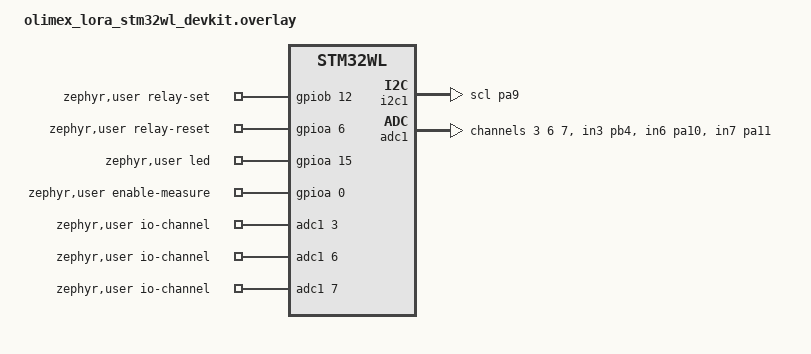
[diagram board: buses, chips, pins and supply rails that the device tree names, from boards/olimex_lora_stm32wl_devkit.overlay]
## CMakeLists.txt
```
# SPDX-License-Identifier: Apache-2.0

set(BOARD olimex_lora_stm32wl_devkit)

cmake_minimum_required(VERSION 3.20.0)

find_package(Zephyr HINTS $ENV{ZEPHYR_BASE})
project(bat-monitor)

FILE(GLOB app_sources src/*.c)
target_sources(app PRIVATE ${app_sources})
```

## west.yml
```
manifest:
  defaults:
    remote: lamassu
  remotes:
    - name: lamassu
      url-base: git@gitlab.lamassu.is:farm/adc-test
  projects:
    - name: zephyr
      repo-path: zephyr
      revision: v3.4.0
    - name: adc-test
      revision: main
      self: true
```

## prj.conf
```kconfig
CONFIG_LOG=y
CONFIG_SPI=y
CONFIG_GPIO=y
CONFIG_LORA=y
CONFIG_LORAWAN=y
CONFIG_LORAWAN_SERVICES=y
CONFIG_LORAWAN_APP_CLOCK_SYNC=y
CONFIG_LORAMAC_REGION_IN865=n
CONFIG_LORAMAC_REGION_EU868=y
CONFIG_MAIN_STACK_SIZE=2048
CONFIG_SYSTEM_WORKQUEUE_STACK_SIZE=2048
CONFIG_NVS=y
CONFIG_FLASH=y
CONFIG_FLASH_PAGE_LAYOUT=y
CONFIG_MPU_ALLOW_FLASH_WRITE=y
CONFIG_SENSOR=y
CONFIG_ADC=y
CONFIG_ADC_STM32=y
CONFIG_PRINTK=y
CONFIG_CBPRINTF_FP_SUPPORT=y
CONFIG_DEBUG=y
CONFIG_DEBUG_INFO=y
CONFIG_EXCEPTION_STACK_TRACE=y
```

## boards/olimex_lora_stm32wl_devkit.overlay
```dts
/*
 * SPDX-License-Identifier: Apache-2.0
 *
 * Copyright (c) 2022 QRTECH
 */

#include <zephyr/dt-bindings/adc/adc.h>
#include <zephyr/dt-bindings/gpio/gpio.h>

/ {
	zephyr,user {
		/* adjust channel number according to pinmux in board.dts */
		io-channels = <&adc1 3 &adc1 6 &adc1 7>;
		relay-set-gpios = <&gpiob 12 4 >;
		relay-reset-gpios = <&gpioa 6 4 >;
		led-gpios = <&gpioa 15 4 >;
		enable-measure-gpios = <&gpioa 0 4 >;
	};
};

/* 
&adc1 {
	status = "okay";
	pinctrl-0 = <&adc_in3_pb4>;  
	pinctrl-names = "default";
	#address-cells = <1>;
	#size-cells = <0>;

	channel@3 {
		reg = <3>;
		zephyr,gain = "ADC_GAIN_1";
		zephyr,reference = "ADC_REF_INTERNAL";
		zephyr,acquisition-time = <ADC_ACQ_TIME_DEFAULT>;
		zephyr,resolution = <12>;
	};

};
*/

&i2c1 {
    pinctrl-0 = <&i2c1_scl_pa9>; /* Remove &i2c1_sda_pa10 */
    status = "okay";
	// status = "disabled";
};

uext_spi: &spi1 {
	status = "disabled";
};

&adc1 {
    status = "okay";

    /* Existing channel configuration */
    pinctrl-0 = <&adc_in3_pb4 &adc_in6_pa10 &adc_in7_pa11>;
    pinctrl-names = "default";

	#address-cells = <1>;
	#size-cells = <0>;

    channel@3 {
        reg = <3>;
        zephyr,gain = "ADC_GAIN_1";
        zephyr,reference = "ADC_REF_INTERNAL";
        zephyr,acquisition-time = <ADC_ACQ_TIME_DEFAULT>;
		// zephyr,acquisition-time = <ADC_ACQ_TIME(ADC_ACQ_TIME_MICROSECONDS, 12)>;
        zephyr,resolution = <10>;
    };

    channel@6 {
        reg = <6>; /* Channel number */
        zephyr,gain = "ADC_GAIN_1"; /* Gain setting for the channel */
        zephyr,reference = "ADC_REF_INTERNAL"; /* Reference voltage */
        zephyr,acquisition-time = <ADC_ACQ_TIME_DEFAULT>; /* Acquisition time */
        zephyr,resolution = <12>; /* Resolution in bits */
    };

    channel@7 {
        reg = <7>; /* Channel number */
        zephyr,gain = "ADC_GAIN_1"; /* Gain setting for the channel */
        zephyr,reference = "ADC_REF_INTERNAL"; /* Reference voltage */
        zephyr,acquisition-time = <ADC_ACQ_TIME_DEFAULT>; /* Acquisition time */
        zephyr,resolution = <12>; /* Resolution in bits */
    };
};
```

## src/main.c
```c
/*
 * Copyright (c) 2020 Libre Solar Technologies GmbH
 *
 * SPDX-License-Identifier: Apache-2.0
 */

#include <zephyr/kernel.h>
#include <zephyr/sys/printk.h>
#include <zephyr/sys/util.h>
#include <zephyr/logging/log.h>

#include "gpio.h"
#include "volt_measure.h"

#define THREAD_PRIORITY 5

LOG_MODULE_REGISTER(adc_test, 0);

void led_on() {
	gpio_pin_set_dt(&gpio_led, 1);
}

void led_off() {
	gpio_pin_set_dt(&gpio_led, 0);
}

int main(void) {

	LOG_MODULE_DECLARE(adc_test);
	printk("version 1.1\n");

	if (gpio_init() < 0) {
		LOG_ERR("Couldn't initialize GPIOs.");
		return -10;
	}

	// Boot led indication
	for (int i = 0; i < 7; i++) {
		led_on();
		k_sleep(K_MSEC(100));
		led_off();
		k_sleep(K_MSEC(500));
	}

	if (volt_measure_init() < 0) {
		LOG_ERR("Couldn't initialize ADC.");
		return -11;	
	}
	
	while (true) {
		uint16_t val;
		val = volt_measure(0);
		printk("Voltage 0: %d mV\n\n", val);

		k_sleep(K_MSEC(100));

		val = volt_measure(1);
		printk("Voltage 1: %d mV\n\n\n", val);

		k_sleep(K_MSEC(5000));
	}

	printk("Done\n");
	return 0;
}
```

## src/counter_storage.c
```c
#include <zephyr/kernel.h>
#include <zephyr/device.h>
#include <zephyr/drivers/flash.h>
#include <zephyr/storage/flash_map.h>
#include <zephyr/fs/nvs.h>

static struct nvs_fs fs;

#define NVS_PARTITION		storage_partition
#define NVS_PARTITION_DEVICE	FIXED_PARTITION_DEVICE(NVS_PARTITION)
#define NVS_PARTITION_OFFSET	FIXED_PARTITION_OFFSET(NVS_PARTITION)

#define COUNTER_ID 1


int counter_storage_init(void)
{
    int rc;

	struct flash_pages_info info;

	/* define the nvs file system by settings with:
	 *	sector_size equal to the pagesize,
	 *	3 sectors
	 *	starting at NVS_PARTITION_OFFSET
	 */
	fs.flash_device = NVS_PARTITION_DEVICE;
	if (!device_is_ready(fs.flash_device)) {
		printk("Flash device %s is not ready\n", fs.flash_device->name);
		return -1;
	}
	fs.offset = NVS_PARTITION_OFFSET;
	rc = flash_get_page_info_by_offs(fs.flash_device, fs.offset, &info);
	if (rc) {
		printk("Unable to get page info\n");
		return -2;
	}
	fs.sector_size = info.size;
	fs.sector_count = 3U;

	rc = nvs_mount(&fs);
	if (rc) {
		printk("Flash Init failed\n");
		return -3;
	}

    printk("Flash initialized\n");

    return 0;
}

uint16_t counter_storage_inc(void) {
    int rc;
	uint16_t counter = 0U;

	/* COUNTER_ID is used to store the reboot counter, lets see
	 * if we can read it from flash
	 */
	rc = nvs_read(&fs, COUNTER_ID, &counter, sizeof(counter));
	if (rc > 0) { /* item was found, show it */
		printk("Id: %d, counter: %d\n", COUNTER_ID, counter);
        counter++;
		(void)nvs_write(&fs, COUNTER_ID, &counter, sizeof(counter));
	} else   {/* item was not found, add it */
		printk("No Reboot counter found, adding it at id %d\n", COUNTER_ID);
	}
    (void)nvs_write(&fs, COUNTER_ID, &counter, sizeof(counter));

    return counter;
}
```

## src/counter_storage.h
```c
int counter_storage_init(void);
uint16_t counter_storage_inc(void);
```

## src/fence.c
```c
#include <stdint.h>

#include "fence.h"
#include "gpio.h"

enum relay_state_t { Energize, De_energize };
const int relay_time_ms = 100;

uint8_t fence_is_energized(uint16_t mv_value) {
    if (mv_value > 5000) {
        return 1;
    } 

    return 0;
}

void set_relay_pin(enum relay_state_t relay_state, int value) {
    if (relay_state == Energize) {
        gpio_pin_set_dt(&gpio_relay_reset, value);
    } else if (relay_state == De_energize) {
        gpio_pin_set_dt(&gpio_relay_set, value);
    }
}

void set_relay(enum relay_state_t relay_state) {
    set_relay_pin(relay_state, 1);
    k_sleep(K_MSEC(relay_time_ms));
    set_relay_pin(relay_state, 0);
}

void fence_handle_cmd(uint16_t mv_value, enum fence_cmd cmd) {
    int energized = fence_is_energized(mv_value);

    if (cmd == FENCE_ENERGIZE && !energized) {
        set_relay(Energize);
    } else if (cmd == FENCE_DE_ENERGIZE && energized) {
        set_relay(De_energize);
    }
}
```

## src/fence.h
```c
enum fence_cmd {
    FENCE_NONE = 0,
    FENCE_ENERGIZE = 1,
    FENCE_DE_ENERGIZE = 2,
};

uint8_t fence_is_energized(uint16_t mv_value);
void fence_handle_cmd(uint16_t mv_value, enum fence_cmd cmd);
```

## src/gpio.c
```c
#include <zephyr/logging/log.h>
#include "gpio.h"

#define ZEPHYR_USER_NODE DT_PATH(zephyr_user)
#define LED0_NODE DT_ALIAS(led0)

const struct gpio_dt_spec gpio_relay_set =
        GPIO_DT_SPEC_GET(ZEPHYR_USER_NODE, relay_set_gpios);

const struct gpio_dt_spec gpio_relay_reset =
        GPIO_DT_SPEC_GET(ZEPHYR_USER_NODE, relay_reset_gpios);


const struct gpio_dt_spec gpio_led = GPIO_DT_SPEC_GET(LED0_NODE, gpios);

LOG_MODULE_DECLARE(lora_fence);

int init_gpio(const struct gpio_dt_spec *gpio) {
    LOG_MODULE_DECLARE(adc_test);

	if (!gpio_is_ready_dt(gpio)) {
        LOG_ERR("GPIO %s is not ready.", gpio->port->name);
		return -1;
	}

	if (gpio_pin_configure_dt(gpio, GPIO_OUTPUT_INACTIVE) < 0) {
        LOG_ERR("Couldn't configure GPIO %s.", gpio->port->name);
        return -2;
    }

    return 0;
}

int gpio_init(void) {
    if (init_gpio(&gpio_relay_set) < 0) { return -1; }
    if (init_gpio(&gpio_relay_reset) < 0) { return -2; }
    if (init_gpio(&gpio_led) < 0) { return -4; }

    return 0;
}
```

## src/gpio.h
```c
#include <zephyr/kernel.h>
#include <zephyr/drivers/gpio.h>

extern const struct gpio_dt_spec gpio_relay_set;        
extern const struct gpio_dt_spec gpio_relay_reset;
extern const struct gpio_dt_spec gpio_led;

int gpio_init(void);
```

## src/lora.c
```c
/*
 * Class A LoRaWAN sample application
 *
 * Copyright (c) 2020 Manivannan Sadhasivam <mani@kernel.org>
 *
 * SPDX-License-Identifier: Apache-2.0
 */

/*
DR0: SF = 12
DR1: SF = 11
DR2: SF = 10
DR3: SF = 9
DR4: SF = 8
DR5: SF = 7
*/

#include <stddef.h>
#include <stdint.h>

#include <zephyr/devicetree.h>
#include <zephyr/sys/util.h>
#include <zephyr/random/rand32.h>

#include <zephyr/device.h>
#include <zephyr/lorawan/lorawan.h>
#include <zephyr/kernel.h>

#include <zephyr/sys/printk.h>

#include <zephyr/logging/log.h>

#include "lora.h"
#include "counter_storage.h"

/* Customize based on network configuration */
//70B3D57ED005AC1A
#define LORAWAN_DEV_EUI			{ 0x70, 0xB3, 0xD5, 0x7E, 0xD0, 0x05, 0xAC, 0x1A }
#define LORAWAN_JOIN_EUI		{ 0x00, 0x00, 0x00, 0x00, 0x00, 0x00,\
					  0x00, 0x00 }
#define LORAWAN_APP_KEY			{ 0x2B, 0x7E, 0x15, 0x16, 0x28, 0xAE,\
					  0xD2, 0xA6, 0xAB, 0xF7, 0x15, 0x88,\
					  0x09, 0xCF, 0x4F, 0x3C }

static const int port = 2;

static lora_callback_t g_callback = NULL;

LOG_MODULE_DECLARE(lora_fence);

static void dl_callback(uint8_t port, bool data_pending,
			int16_t rssi, int8_t snr,
			uint8_t len, const uint8_t *data)
{
	LOG_MODULE_DECLARE(lora_fence);

	LOG_INF("Port %d, Pending %d, RSSI %ddB, SNR %ddBm", port, data_pending, rssi, snr);
	if (data) {
		LOG_HEXDUMP_INF(data, len, "Payload: ");
	}

	if (g_callback != NULL) {
        g_callback(port, data, len);
    }
	LOG_MSG_DBG("Done callback");
}

static void lorawan_datarate_changed(enum lorawan_datarate dr)
{
	uint8_t unused, max_size;

	LOG_MODULE_DECLARE(lora_fence);

	lorawan_get_payload_sizes(&unused, &max_size);
	LOG_INF("New Datarate: DR_%d, Max Payload %d", dr, max_size);
}

static struct lorawan_downlink_cb downlink_cb = {
	.port = LW_RECV_PORT_ANY,
	.cb = dl_callback
};

int join(uint32_t initial_delay_ms, uint32_t max_delay_ms, uint8_t max_attempts) {
    uint32_t delay = initial_delay_ms;
    uint8_t attempts = 0;
    float random_factor;
	int ret;
	uint16_t dev_nonce;

	struct lorawan_join_config join_cfg;
	uint8_t dev_eui[] = LORAWAN_DEV_EUI;
	uint8_t join_eui[] = LORAWAN_JOIN_EUI;
	uint8_t app_key[] = LORAWAN_APP_KEY;

	join_cfg.mode = LORAWAN_ACT_OTAA;
	join_cfg.dev_eui = dev_eui;
	join_cfg.otaa.join_eui = join_eui;
	join_cfg.otaa.app_key = app_key;
	join_cfg.otaa.nwk_key = app_key;

    while (attempts < max_attempts) {
		dev_nonce = counter_storage_inc();
		LOG_INF("Joining network over OTAA. DevNonce: %d", dev_nonce);
		join_cfg.otaa.dev_nonce = dev_nonce;
		ret = lorawan_join(&join_cfg);

		if (ret == 0) {
			LOG_INF("Joined!");
			return 0;
		}
		
		LOG_ERR("lorawan_join_network failed: %d", ret);

        // Generate a random factor between 1 and 1.5
        random_factor = 1 + ((float) sys_rand32_get() / UINT32_MAX) * 0.5;

        // Multiply the delay by the random factor
        uint32_t actual_delay = (uint32_t)(delay * random_factor);

        // Cap the delay with max_delay_ms
        if (actual_delay > max_delay_ms) {
            actual_delay = max_delay_ms;
        }

        printk("Attempt %d: Waiting for %d seconds\n", attempts + 1, actual_delay/1000);

        // Sleep for the actual delay time
        k_sleep(K_MSEC(actual_delay));

        // Double the next delay
        delay *= 2;

        // Increment the number of attempts
        attempts++;
    }

	return -1;
}

int lora_init(lora_callback_t callback) {
    g_callback = callback;

	const struct device *lora_dev;
	int ret;
    uint32_t initial_delay_ms = 5000;  // 5 seconds
    uint32_t max_delay_ms = 600000;     // 10 minutes
    uint8_t max_attempts = 10;

	LOG_MODULE_DECLARE(lora_fence);

	if (counter_storage_init() < 0) {
		LOG_ERR("Can't init non-volatile storage.");
		return -1;
	}

	lora_dev = DEVICE_DT_GET(DT_ALIAS(lora0));
	if (!device_is_ready(lora_dev)) {
		LOG_ERR("%s: device not ready.", lora_dev->name);
		return -2;
	}

	ret = lorawan_set_region(LORAWAN_REGION_EU868);
	if (ret < 0) {
		LOG_ERR("lorawan_set_region failed: %d", ret);
		return -3;
	}

	ret = lorawan_set_conf_msg_tries(3);
	if (ret < 0) {
		LOG_ERR("lorawan_set_conf_msg_tries failed: %d", ret);
		return -5;
	} else {
		LOG_INF("lorawan_set_conf_msg_tries set to 3.");
	}

	ret = lorawan_start();
	if (ret < 0) {
		LOG_ERR("lorawan_start failed: %d", ret);
		return -7;
	}

	lorawan_register_downlink_callback(&downlink_cb);
	lorawan_register_dr_changed_callback(lorawan_datarate_changed);

    ret = join(initial_delay_ms, max_delay_ms, max_attempts);
	if (ret < 0) {
		LOG_ERR("Join failed.");
		return -8;
	}

	k_sleep(K_MSEC(1000));

	ret = lorawan_set_class(LORAWAN_CLASS_C);
	if (ret < 0) {
		LOG_ERR("lorawan_set_class failed: %d", ret);
		return -4;
	} else {
		LOG_INF("Set to class C.");
	}

	ret = lorawan_set_datarate(LORAWAN_DR_3);
	if (ret < 0) {
		LOG_ERR("lorawan_set_datarate failed: %d", ret);
		return -6;
	} else {
		LOG_MSG_DBG("lorawan_set_datarate set to DR_3.");
	}

#ifdef CONFIG_LORAWAN_APP_CLOCK_SYNC
	LOG_INF("Syncing clock.");
	lorawan_clock_sync_run();
#endif

	return 0;
}

void lora_send(uint8_t *data, uint8_t size)
{
	int ret = lorawan_send(port, data, size, LORAWAN_MSG_UNCONFIRMED);

	if (ret < 0) {
		LOG_ERR("lorawan_send failed: %d", ret);
	}
	else {
		LOG_INF("Data sent!");
	}
}
```

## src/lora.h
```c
typedef void (*lora_callback_t)(uint8_t port, const uint8_t*, size_t);

int lora_init(lora_callback_t callback);
void lora_send(uint8_t *data, uint8_t size);
```

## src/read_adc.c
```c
/*
 * Copyright (c) 2020 Libre Solar Technologies GmbH
 *
 * SPDX-License-Identifier: Apache-2.0
 */

#include <zephyr/device.h>
#include <zephyr/devicetree.h>
#include <zephyr/drivers/adc.h>
#include <zephyr/sys/printk.h>
#include <zephyr/sys/util.h>

#include "read_adc.h"

#if !DT_NODE_EXISTS(DT_PATH(zephyr_user)) || \
	!DT_NODE_HAS_PROP(DT_PATH(zephyr_user), io_channels)
#error "No suitable devicetree overlay specified"
#endif

/* Data of ADC io-channel specified in devicetree. */
static const struct adc_dt_spec adc_channel_1 = ADC_DT_SPEC_GET_BY_IDX(DT_PATH(zephyr_user), 1);
static const struct adc_dt_spec adc_channel_2 = ADC_DT_SPEC_GET_BY_IDX(DT_PATH(zephyr_user), 2);

int err;

int read_adc_init() {
	if (!device_is_ready(adc_channel_1.dev)) {
		printk("ADC controller device not ready\n");
		return -1;
	}

	err = adc_channel_setup_dt(&adc_channel_1);
	if (err < 0) {
		printk("Could not setup channel (%d)\n", err);
		return -2;
	}

	if (!device_is_ready(adc_channel_2.dev)) {
		printk("ADC controller device not ready\n");
		return -1;
	}

	err = adc_channel_setup_dt(&adc_channel_2);
	if (err < 0) {
		printk("Could not setup channel (%d)\n", err);
		return -2;
	}

	return 0;
}

int read_adc(int32_t *val_mv, int idx) {
	int16_t buf;
	struct adc_dt_spec adc_channel = idx == 0 ? adc_channel_1 : adc_channel_2;
	struct adc_sequence sequence = {
		.buffer = &buf,
		/* buffer size in bytes, not number of samples */
		.buffer_size = sizeof(buf),
	};

	printk("ADC reading:\n");

	printk("- %s, channel %d: ",
			adc_channel.dev->name,
			adc_channel.channel_id);

	(void)adc_sequence_init_dt(&adc_channel, &sequence);

	err = adc_read(adc_channel.dev, &sequence);
	if (err < 0) { return -1; }

	printk(" %d ", buf);

	/* conversion to mV may not be supported, skip if not */
	*val_mv = (int32_t)buf;
	err = adc_raw_to_millivolts_dt(&adc_channel, val_mv);

	if (err < 0) {
		return -2;
	} 

	return 0;
}
```

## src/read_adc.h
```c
#include <inttypes.h>

int read_adc_init(void);
int read_adc(int32_t *val_mv, int idx);
```

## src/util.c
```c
#include <stdint.h>

void convert_uint16_to_uint8_array(uint16_t input, uint8_t output[2]) {
    output[0] = (uint8_t)(input & 0xFF);         // Lower byte
    output[1] = (uint8_t)((input >> 8) & 0xFF);  // Higher byte
}
```

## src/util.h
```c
void convert_uint16_to_uint8_array(uint16_t input, uint8_t output[2]);
```
